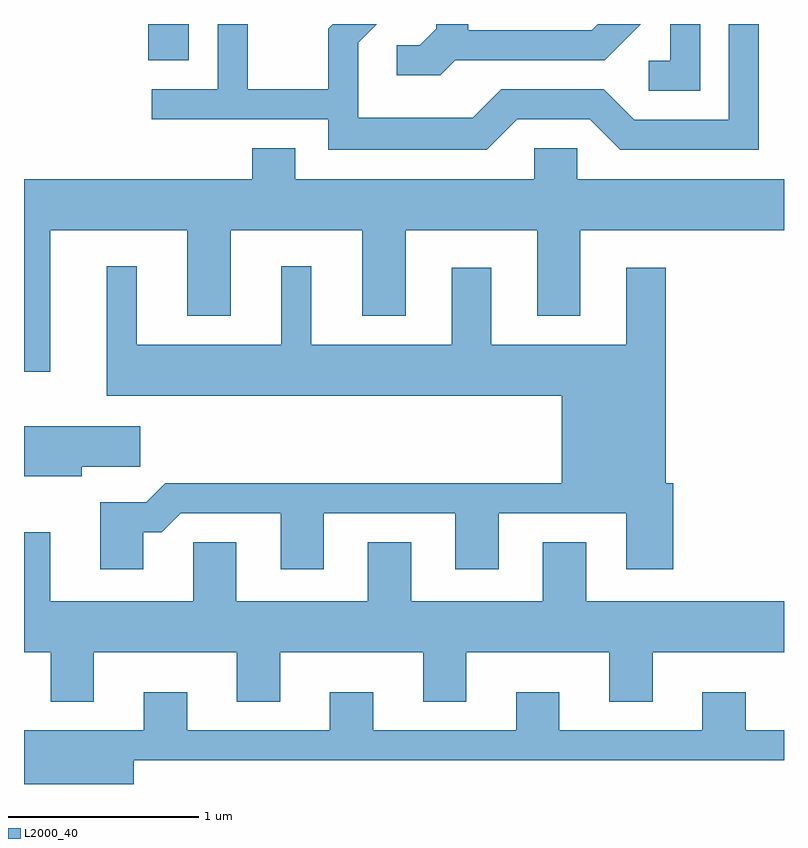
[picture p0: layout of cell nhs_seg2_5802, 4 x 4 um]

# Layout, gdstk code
import gdstk
lib = gdstk.Library(unit=1e-6, precision=1e-09)
def R(c, l, rs):  # rectangles x0, y0, x1, y1
    for r in rs: c.add(gdstk.rectangle(r[:2], r[2:], *l))
def P(c, l, *ps):  # polygons
    for p in ps: c.add(gdstk.Polygon(p, *l))
L2000_40 = (2000, 40)

nhs_seg2_5802 = lib.new_cell('nhs_seg2_5802')
R(nhs_seg2_5802, L2000_40, [(356.266,1093.611,356.479,1093.802)])
P(nhs_seg2_5802, L2000_40, [(357.882,1093.611),(358.667,1093.611),(358.857,1093.802),(358.632,1093.802),(358.599,1093.769),(357.949,1093.769),(357.949,1093.802),(357.781,1093.802),(357.781,1093.777),(357.694,1093.689),(357.573,1093.689),(357.573,1093.531),(357.802,1093.531)],
  [(359.169,1093.802),(359.011,1093.802),(359.011,1093.609),(358.898,1093.609),(358.898,1093.451),(359.169,1093.451)],
  [(358.207,1093.301),(358.589,1093.301),(358.749,1093.141),(359.479,1093.141),(359.479,1093.802),(359.321,1093.802),(359.321,1093.299),(358.822,1093.299),(358.662,1093.459),(358.124,1093.459),(357.974,1093.309),(357.369,1093.309),(357.369,1093.704),(357.467,1093.802),(357.236,1093.802),(357.211,1093.777),(357.211,1093.459),(356.789,1093.459),(356.789,1093.802),(356.631,1093.802),(356.631,1093.459),(356.283,1093.459),(356.283,1093.301),(357.211,1093.301),(357.211,1093.141),(358.047,1093.141)],
  [(355.749,1092.716),(356.471,1092.716),(356.471,1092.266),(356.699,1092.266),(356.699,1092.716),(357.391,1092.716),(357.391,1092.266),(357.619,1092.266),(357.619,1092.716),(358.311,1092.716),(358.311,1092.266),(358.539,1092.266),(358.539,1092.716),(359.611,1092.716),(359.611,1092.984),(358.524,1092.984),(358.524,1093.149),(358.296,1093.149),(358.296,1092.984),(357.039,1092.984),(357.039,1093.149),(356.811,1093.149),(356.811,1092.984),(355.611,1092.984),(355.611,1091.973),(355.749,1091.973)],
  [(356.239,1091.126),(356.337,1091.126),(356.437,1091.226),(356.961,1091.226),(356.961,1090.931),(357.189,1090.931),(357.189,1091.226),(357.881,1091.226),(357.881,1090.931),(358.109,1090.931),(358.109,1091.226),(358.781,1091.226),(358.781,1090.931),(359.029,1090.931),(359.029,1091.384),(358.989,1091.384),(358.989,1092.519),(358.781,1092.519),(358.781,1092.114),(358.069,1092.114),(358.069,1092.519),(357.861,1092.519),(357.861,1092.114),(357.124,1092.114),(357.124,1092.528),(356.966,1092.528),(356.966,1092.114),(356.204,1092.114),(356.204,1092.528),(356.046,1092.528),(356.046,1091.846),(358.441,1091.846),(358.441,1091.384),(356.354,1091.384),(356.254,1091.284),(356.011,1091.284),(356.011,1090.931),(356.239,1090.931)],
  [(355.914,1091.471),(356.224,1091.471),(356.224,1091.684),(355.611,1091.684),(355.611,1091.421),(355.914,1091.421)],
  [(355.979,1090.496),(356.731,1090.496),(356.731,1090.236),(356.959,1090.236),(356.959,1090.496),(357.711,1090.496),(357.711,1090.236),(357.939,1090.236),(357.939,1090.496),(358.691,1090.496),(358.691,1090.236),(358.919,1090.236),(358.919,1090.496),(359.611,1090.496),(359.611,1090.764),(358.569,1090.764),(358.569,1091.074),(358.341,1091.074),(358.341,1090.764),(357.649,1090.764),(357.649,1091.074),(357.421,1091.074),(357.421,1090.764),(356.729,1090.764),(356.729,1091.074),(356.501,1091.074),(356.501,1090.764),(355.749,1090.764),(355.749,1091.128),(355.611,1091.128),(355.611,1090.496),(355.751,1090.496),(355.751,1090.236),(355.979,1090.236)],
  [(356.189,1089.926),(359.611,1089.926),(359.611,1090.084),(359.409,1090.084),(359.409,1090.284),(359.181,1090.284),(359.181,1090.084),(358.429,1090.084),(358.429,1090.284),(358.201,1090.284),(358.201,1090.084),(357.449,1090.084),(357.449,1090.284),(357.221,1090.284),(357.221,1090.084),(356.469,1090.084),(356.469,1090.284),(356.241,1090.284),(356.241,1090.084),(355.611,1090.084),(355.611,1089.802),(356.189,1089.802)])

lib.write_gds('nhs_seg2_5802.gds')
